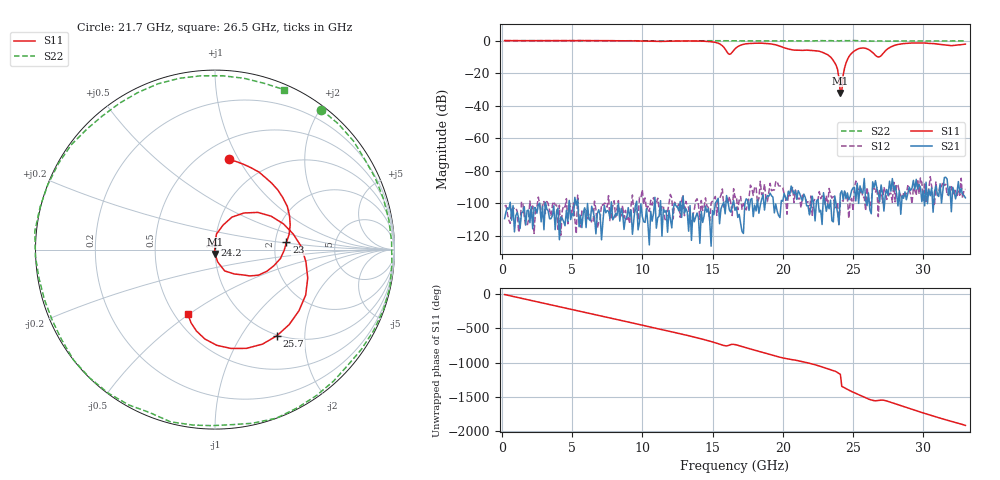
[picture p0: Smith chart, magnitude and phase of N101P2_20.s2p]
# GHZ S RI R 50
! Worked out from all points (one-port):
!   329 points, 200 MHz to 33 GHz, reference 50 ohm
!   lowest |S11| = -32.3 dB at 24.1 GHz (marker M1), VSWR 1.05, Z = 50 - j2.44 ohm
!   |S11| at or under -10 dB: 23.39 GHz to 24.7 GHz (1.311 GHz wide, 5.45 % of centre); 26.77041 GHz to 26.85498 GHz (84.57 MHz wide, 0.315 % of centre)
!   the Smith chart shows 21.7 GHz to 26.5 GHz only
!   S11 on the Smith chart (normalised r, x): 21.7 GHz: 0.67, +0.91; 23 GHz: 2.31, +0.22; 24.2 GHz: 0.99, +0.05; 25.7 GHz: 0.99, -1.46; 26.5 GHz: 0.58, -0.50
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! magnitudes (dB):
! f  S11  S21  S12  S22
! 200 MHz  0.0  -109.3  -101.8  0.0
! 5.7 GHz  0.0  -114.9  -104.7  0.0
! 11.2 GHz  -0.5  -107.9  -103.6  -0.2
! 15.2 GHz  -1.1  -100.0  -95.8  -0.1
! 16.2 GHz  -8.5  -104.1  -95.8  -0.2
! 16.6 GHz  -5.1  -104.3  -96.4  -0.2
! 18.4 GHz  -1.6  -101.2  -86.4  -0.2
! 21.7 GHz  -5.9  -101.5  -99.2  -0.2
! 22.1 GHz  -6.1  -95.6  -107.4  -0.2
! 23 GHz  -8.0  -99.3  -101.0  -0.2
! 23.8 GHz  -15.2  -100.7  -102.0  -0.1
! 24 GHz  -23.1  -113.1  -113.6  -0.2
! 24.1 GHz  -32.3  -94.0  -98.9  -0.1
! 24.2 GHz  -31.4  -92.3  -98.0  0.0
! 24.3 GHz  -21.2  -97.5  -98.7  0.0
! 24.6 GHz  -11.7  -93.6  -96.5  -0.1
! 25.7 GHz  -4.6  -93.8  -96.5  -0.2
! 26.5 GHz  -8.2  -90.1  -90.8  -0.3
! 26.9 GHz  -9.9  -98.9  -91.8  -0.2
! 27.6 GHz  -4.3  -86.4  -93.9  -0.3
! 29 GHz  -1.5  -90.0  -91.7  -0.2
! 33 GHz  -2.2  -96.6  -91.4  -0.2
